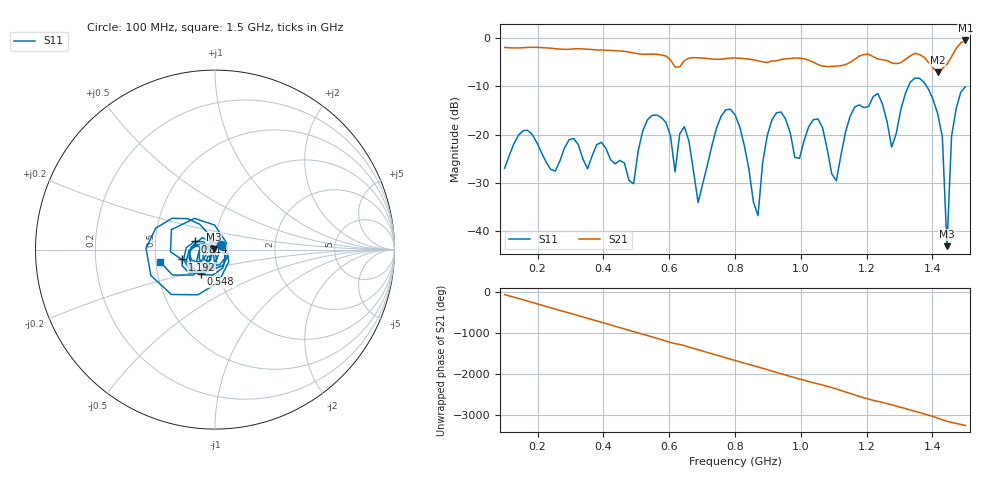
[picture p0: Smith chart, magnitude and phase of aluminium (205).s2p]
! NanoVNA-App
! Date: 2025-09-25 14:56:52
! Start: 100MHz Stop: 1,5GHz Points: 101
! S-Parameter data: F S11 S21 S12 S22
# Hz S RI R 50
!  Frequency  S11_Real  S11_Imag  S21_Real  S21_Imag  S12_Real  S12_Imag  S22_Real  S22_Imag
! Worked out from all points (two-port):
!   101 points, 100 MHz to 1.5 GHz, reference 50 ohm
!   highest |S21| = -0.48 dB at 1.5 GHz (marker M1); lowest = -7.1 dB at 1.416 GHz (marker M2)
!   |S21| within 3 dB of the highest: start of sweep to 575.7 MHz; 1.461 GHz to end of sweep (the widest 2 of 4)
!   lowest |S11| = -43.1 dB at 1.444 GHz (marker M3), VSWR 1.01, Z = 49.4 + j0.266 ohm
!   |S11| at or under -10 dB: start of sweep to 1.327 GHz; 1.383 GHz to end of sweep
!   S12 and S22 are empty: the file has one direction only
!   S11 on the Smith chart (normalised r, x): 100 MHz: 1.07, +0.06; 548 MHz: 0.82, -0.23; 814 MHz: 0.79, +0.07; 1.192 GHz: 0.69, -0.08; 1.5 GHz: 0.53, -0.08
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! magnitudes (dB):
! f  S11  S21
! 100 MHz  -27.0  -1.9
! 338 MHz  -25.1  -2.2
! 492 MHz  -30.1  -3.1
! 548 MHz  -16.0  -3.3
! 576 MHz  -16.4  -3.5
! 618 MHz  -27.7  -6.0
! 646 MHz  -18.3  -4.7
! 688 MHz  -34.1  -4.1
! 800 MHz  -15.9  -4.1
! 814 MHz  -18.3  -4.2
! 870 MHz  -36.7  -4.7
! 912 MHz  -17.0  -4.7
! 1.038 GHz  -16.9  -5.0
! 1.108 GHz  -29.5  -5.8
! 1.192 GHz  -14.4  -3.4
! 1.276 GHz  -22.5  -5.1
! 1.346 GHz  -8.3  -3.1
! 1.416 GHz  -15.7  -7.1
! 1.43 GHz  -20.5  -6.3
! 1.444 GHz  -43.1  -5.4
! 1.458 GHz  -20.3  -3.8
! 1.5 GHz  -10.1  -0.5
